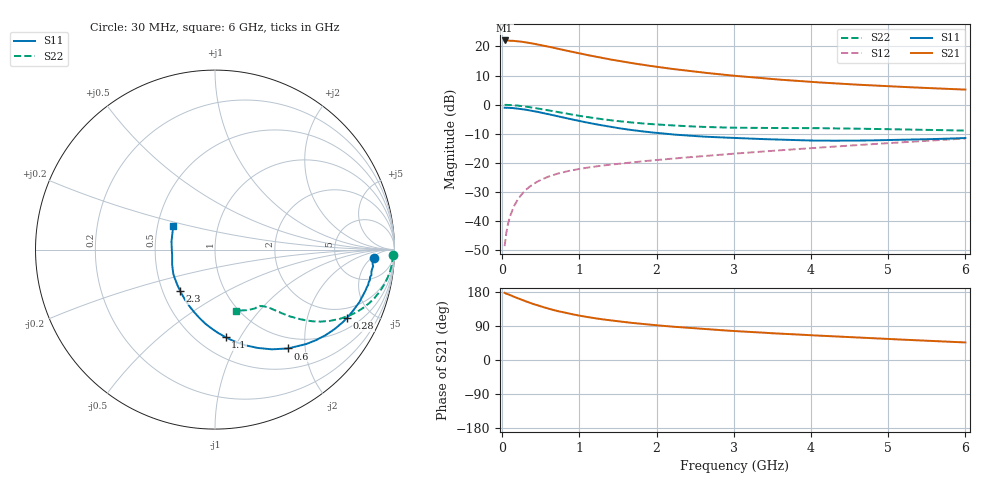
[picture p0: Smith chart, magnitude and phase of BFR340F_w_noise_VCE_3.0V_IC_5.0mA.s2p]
! Infineon Technologies  Discrete & RF Semiconductors
! BFR340F
! VCE =  3.0 V,  IC =  5.0 mA
! Common Emitter S-Parameters:  Nov 2015
# GHz  S  MA  R  50
!  f  S11  S21  S12  S22
! GHz  MAG  ANG  MAG  ANG  MAG  ANG  MAG  ANG
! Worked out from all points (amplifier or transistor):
!   206 points, 30 MHz to 6 GHz, reference 50 ohm
!   highest |S21| = 22.1 dB at 30 MHz (marker M1)
!   |S21| within 3 dB of that: start of sweep to 746.5 MHz
!   unconditionally stable (mu >= 1): 3.201 GHz to end of sweep
!   at 200 MHz: K = 0.12, MSG = 27.2 dB, |S12| = -32.7 dB
!   at 1.56 GHz: K = 0.74, MSG = 17.5 dB, |S12| = -20.1 dB
!   at 6 GHz: K = 1.00, MAG = 8.1 dB, |S12| = -11.6 dB
!   lowest NFmin = 1.27 dB at 1.9 GHz
!   S11 on the Smith chart (normalised r, x): 30 MHz: 14, -6; 280 MHz: 1.47, -3.53; 600 MHz: 0.81, -1.68; 1.1 GHz: 0.67, -0.87; 2.3 GHz: 0.61, -0.31; 6 GHz: 0.60, +0.17
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0.03  0.8856 -3.0  12.67 177.4  0.0037 88.8  0.9917 -1.7
0.05  0.8807 -4.9  12.59 175.0  0.006 86.8  0.9905 -2.9
0.07  0.8814 -7.2  12.66 173.5  0.0084 85.7  0.9899 -4.1
0.08  0.88 -8.2  12.6 173.1  0.0096 85.6  0.9889 -4.8
0.14  0.8709 -14.1  12.49 168.0  0.0166 82.1  0.9781 -8.3
0.2  0.8559 -20.0  12.28 163.0  0.0233 79.3  0.9626 -11.7
0.28  0.8271 -27.4  11.89 156.7  0.0317 75.5  0.9353 -15.9
0.4  0.7781 -37.9  11.19 147.9  0.043 70.5  0.886 -21.6
0.5  0.7316 -46.0  10.55 141.3  0.0511 67.0  0.8411 -25.6
0.6  0.685 -53.5  9.901 135.3  0.0581 64.1  0.7958 -29.0
0.7  0.6397 -60.3  9.261 129.9  0.0643 61.7  0.7525 -31.9
0.8  0.5975 -66.5  8.652 125.2  0.0696 59.9  0.712 -34.3
1.04  0.5101 -80.0  7.41 115.7  0.0803 57.0  0.6295 -38.4
1.1  0.4919 -83.1  7.132 113.5  0.0826 56.5  0.6118 -39.3
1.3  0.4392 -92.7  6.328 107.3  0.0898 55.5  0.5614 -41.6
1.52  0.3921 -102.5  5.609 101.5  0.097 55.0  0.5181 -43.4
2.02  0.3251 -121.0  4.432 91.3  0.1125 55.4  0.4549 -46.3
2.3  0.301 -130.3  3.965 86.6  0.1211 56.1  0.4328 -47.8
3.1  0.2648 -152.0  3.059 75.4  0.1471 57.8  0.4004 -52.3
4.1  0.2409 -172.5  2.412 64.4  0.1825 59.3  0.3941 -56.7
5.1  0.2475 167.3  2.042 54.5  0.2221 59.5  0.3769 -63.8
6  0.2671 150.4  1.814 46.3  0.262 58.7  0.3583 -71.4
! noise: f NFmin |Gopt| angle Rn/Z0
1.9  1.27  0.41  12  0.48
